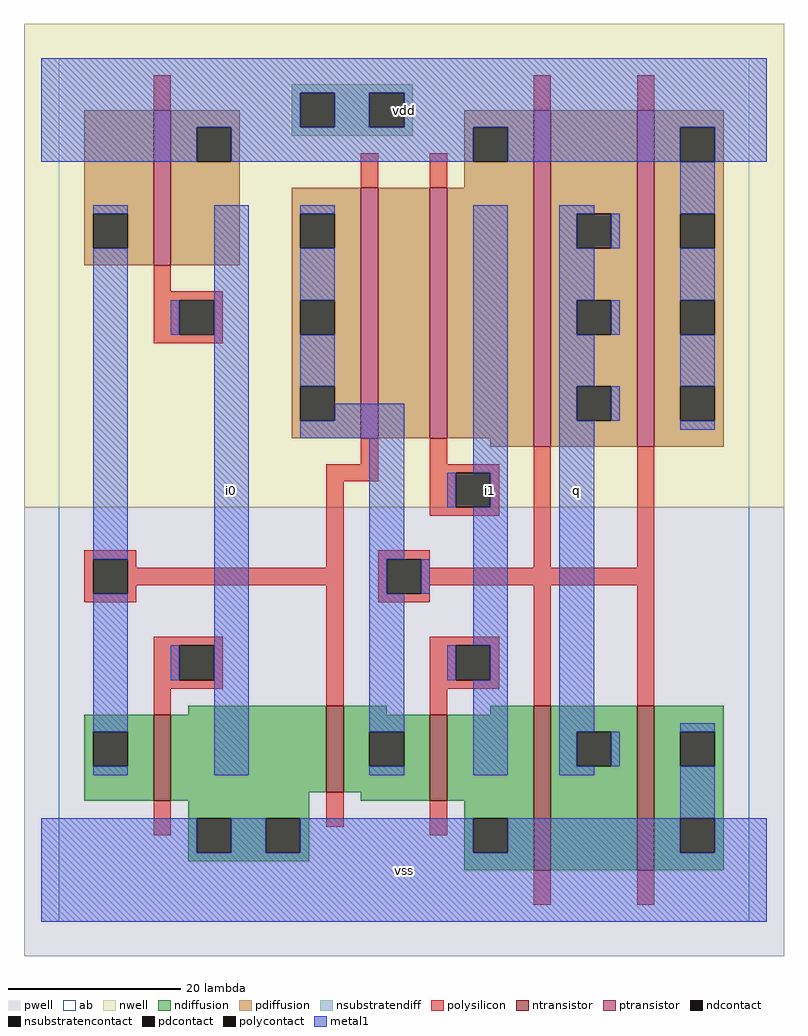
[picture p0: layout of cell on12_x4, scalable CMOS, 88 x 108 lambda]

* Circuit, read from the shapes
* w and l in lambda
.subckt on12_x4 i0 i1 q vdd vss
M1 vss i0 n1 VSUBS nfet w=10 l=2
M2 n2 n1 vss VSUBS nfet w=10 l=2
M3 vss i1 n2 VSUBS nfet w=10 l=2
M4 q n2 vss VSUBS nfet w=19 l=2 m=2
M5 vdd i0 n1 vdd pfet w=18 l=2
M6 n3 n1 n2 vdd pfet w=29 l=2
M7 vdd i1 n3 vdd pfet w=29 l=2
M8 q n2 vdd vdd pfet w=39 l=2 m=2
.ends

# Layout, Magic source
magic
tech scmos
<< ab >>
rect 0 0 80 100
<< pwell >>
rect -4 -4 84 48
<< nwell >>
rect -4 48 84 104
<< polysilicon >>
rect 11 94 13 98
rect 55 94 57 98
rect 67 94 69 98
rect 35 85 37 89
rect 43 85 45 89
rect 11 73 13 76
rect 11 72 19 73
rect 11 68 14 72
rect 18 68 19 72
rect 11 67 19 68
rect 35 53 37 56
rect 31 51 37 53
rect 43 53 45 56
rect 43 52 51 53
rect 3 42 9 43
rect 3 38 4 42
rect 8 41 9 42
rect 31 41 33 51
rect 43 48 46 52
rect 50 48 51 52
rect 43 47 51 48
rect 8 39 33 41
rect 8 38 9 39
rect 3 37 9 38
rect 11 32 19 33
rect 11 28 14 32
rect 18 28 19 32
rect 11 27 19 28
rect 11 24 13 27
rect 31 25 33 39
rect 37 42 43 43
rect 37 38 38 42
rect 42 41 43 42
rect 55 41 57 55
rect 67 41 69 55
rect 42 39 69 41
rect 42 38 43 39
rect 37 37 43 38
rect 43 32 51 33
rect 43 28 46 32
rect 50 28 51 32
rect 43 27 51 28
rect 43 24 45 27
rect 55 25 57 39
rect 67 25 69 39
rect 11 10 13 14
rect 31 11 33 15
rect 43 10 45 14
rect 55 2 57 6
rect 67 2 69 6
<< ndiffusion >>
rect 15 24 31 25
rect 3 22 11 24
rect 3 18 4 22
rect 8 18 11 22
rect 3 14 11 18
rect 13 15 31 24
rect 33 24 38 25
rect 50 24 55 25
rect 33 22 43 24
rect 33 18 36 22
rect 40 18 43 22
rect 33 15 43 18
rect 13 14 29 15
rect 15 12 29 14
rect 15 8 16 12
rect 20 8 24 12
rect 28 8 29 12
rect 35 14 43 15
rect 45 14 55 24
rect 47 12 55 14
rect 15 7 29 8
rect 47 8 48 12
rect 52 8 55 12
rect 47 6 55 8
rect 57 22 67 25
rect 57 18 60 22
rect 64 18 67 22
rect 57 6 67 18
rect 69 22 77 25
rect 69 18 72 22
rect 76 18 77 22
rect 69 12 77 18
rect 69 8 72 12
rect 76 8 77 12
rect 69 6 77 8
<< pdiffusion >>
rect 3 82 11 94
rect 3 78 4 82
rect 8 78 11 82
rect 3 76 11 78
rect 13 92 21 94
rect 13 88 16 92
rect 20 88 21 92
rect 47 92 55 94
rect 13 76 21 88
rect 47 88 48 92
rect 52 88 55 92
rect 47 85 55 88
rect 27 82 35 85
rect 27 78 28 82
rect 32 78 35 82
rect 27 72 35 78
rect 27 68 28 72
rect 32 68 35 72
rect 27 62 35 68
rect 27 58 28 62
rect 32 58 35 62
rect 27 56 35 58
rect 37 56 43 85
rect 45 56 55 85
rect 50 55 55 56
rect 57 82 67 94
rect 57 78 60 82
rect 64 78 67 82
rect 57 72 67 78
rect 57 68 60 72
rect 64 68 67 72
rect 57 62 67 68
rect 57 58 60 62
rect 64 58 67 62
rect 57 55 67 58
rect 69 92 77 94
rect 69 88 72 92
rect 76 88 77 92
rect 69 82 77 88
rect 69 78 72 82
rect 76 78 77 82
rect 69 72 77 78
rect 69 68 72 72
rect 76 68 77 72
rect 69 62 77 68
rect 69 58 72 62
rect 76 58 77 62
rect 69 55 77 58
<< metal1 >>
rect -2 96 82 100
rect -2 92 28 96
rect 32 92 36 96
rect 40 92 82 96
rect -2 88 16 92
rect 20 88 48 92
rect 52 88 72 92
rect 76 88 82 92
rect 4 82 8 83
rect 4 42 8 78
rect 13 68 14 72
rect 4 22 8 38
rect 13 28 14 32
rect 4 17 8 18
rect 18 17 22 83
rect 28 82 32 83
rect 28 72 32 78
rect 28 62 32 68
rect 32 58 40 60
rect 28 56 40 58
rect 36 42 40 56
rect 48 52 52 83
rect 45 48 46 52
rect 50 48 52 52
rect 36 38 38 42
rect 42 38 43 42
rect 36 22 40 38
rect 48 32 52 48
rect 45 28 46 32
rect 50 28 52 32
rect 36 17 40 18
rect 48 17 52 28
rect 58 82 62 83
rect 72 82 76 88
rect 58 78 60 82
rect 64 78 65 82
rect 58 72 62 78
rect 72 72 76 78
rect 58 68 60 72
rect 64 68 65 72
rect 58 62 62 68
rect 72 62 76 68
rect 58 58 60 62
rect 64 58 65 62
rect 58 22 62 58
rect 72 57 76 58
rect 72 22 76 23
rect 58 18 60 22
rect 64 18 65 22
rect 58 17 62 18
rect 72 12 76 18
rect -2 8 16 12
rect 20 8 24 12
rect 28 8 48 12
rect 52 8 72 12
rect 76 8 82 12
rect -2 0 82 8
<< ntransistor >>
rect 11 14 13 24
rect 31 15 33 25
rect 43 14 45 24
rect 55 6 57 25
rect 67 6 69 25
<< ptransistor >>
rect 11 76 13 94
rect 35 56 37 85
rect 43 56 45 85
rect 55 55 57 94
rect 67 55 69 94
<< polycontact >>
rect 14 68 18 72
rect 4 38 8 42
rect 46 48 50 52
rect 14 28 18 32
rect 38 38 42 42
rect 46 28 50 32
<< ndcontact >>
rect 4 18 8 22
rect 36 18 40 22
rect 16 8 20 12
rect 24 8 28 12
rect 48 8 52 12
rect 60 18 64 22
rect 72 18 76 22
rect 72 8 76 12
<< pdcontact >>
rect 4 78 8 82
rect 16 88 20 92
rect 48 88 52 92
rect 28 78 32 82
rect 28 68 32 72
rect 28 58 32 62
rect 60 78 64 82
rect 60 68 64 72
rect 60 58 64 62
rect 72 88 76 92
rect 72 78 76 82
rect 72 68 76 72
rect 72 58 76 62
<< nsubstratencontact >>
rect 28 92 32 96
rect 36 92 40 96
<< nsubstratendiff >>
rect 27 96 41 97
rect 27 92 28 96
rect 32 92 36 96
rect 40 92 41 96
rect 27 91 41 92
<< labels >>
rlabel metal1 20 50 20 50 6 i0
rlabel metal1 40 6 40 6 6 vss
rlabel metal1 50 50 50 50 6 i1
rlabel metal1 40 94 40 94 6 vdd
rlabel metal1 60 50 60 50 6 q
<< end >>
